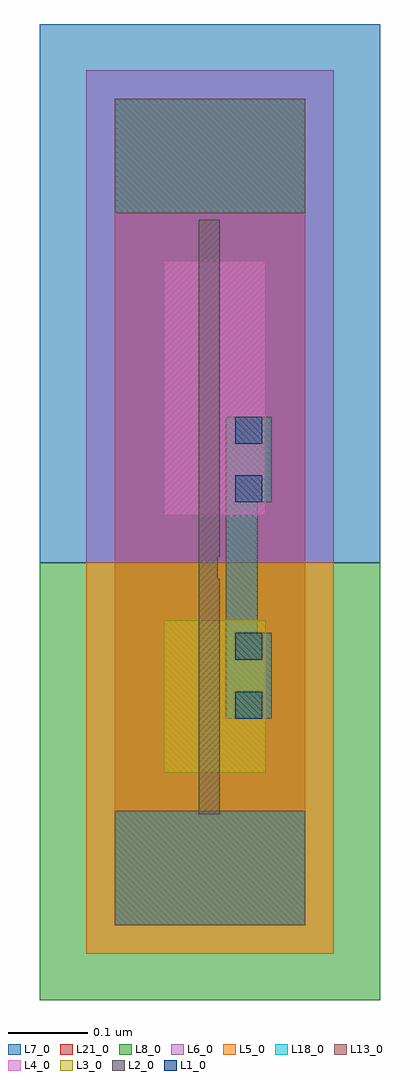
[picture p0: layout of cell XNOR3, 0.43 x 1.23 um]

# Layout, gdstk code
import gdstk
lib = gdstk.Library(unit=1e-6, precision=1e-09)
def R(c, l, rs):  # rectangles x0, y0, x1, y1
    for r in rs: c.add(gdstk.rectangle(r[:2], r[2:], *l))
L1_0 = (1, 0)
L2_0 = (2, 0)
L3_0 = (3, 0)
L4_0 = (4, 0)
L5_0 = (5, 0)
L6_0 = (6, 0)
L7_0 = (7, 0)
L8_0 = (8, 0)
L13_0 = (13, 0)
L18_0 = (18, 0)
L21_0 = (21, 0)

xnor3 = lib.new_cell('XNOR3')
R(xnor3, L1_0, [(0.152,0.26,0.186,0.294), (0.152,0.334,0.186,0.368), (0.152,0.532,0.186,0.566), (0.152,0.606,0.186,0.64)])
R(xnor3, L2_0, [(0.106,0.14,0.132,0.436), (0.106,0.412,0.13,0.488), (0.106,0.464,0.13,0.488), (0.106,0.464,0.13,0.488), (0.106,0.464,0.13,0.488), (0.106,0.464,0.13,0.488), (0.106,0.464,0.132,0.888)])
R(xnor3, L3_0, [(0.062,0.192,0.19,0.384), (0.148,0.192,0.19,0.384)])
R(xnor3, L4_0, [(0.062,0.516,0.19,0.836), (0.148,0.516,0.19,0.836)])
R(xnor3, L5_0, [(-0.036,-0.036,0.276,0.456)])
R(xnor3, L6_0, [(-0.036,0.456,0.276,1.076)])
R(xnor3, L7_0, [(-0.094,0.456,0.334,1.134)])
R(xnor3, L8_0, [(-0.094,-0.094,0.334,0.456)])
R(xnor3, L13_0, [(0,0,0.24,0.144), (0.14,0.26,0.198,0.368), (0.14,0.328,0.18,0.408), (0.14,0.368,0.18,0.432), (0.14,0.392,0.18,0.572), (0.14,0.532,0.18,0.572), (0.14,0.532,0.18,0.572), (0.14,0.532,0.198,0.64), (0,0.896,0.24,1.04)])
R(xnor3, L18_0, [(0,0,0.24,0.144), (0.14,0.26,0.198,0.368), (0.14,0.328,0.18,0.408), (0.14,0.368,0.18,0.432), (0.14,0.38,0.18,0.42), (0.14,0.392,0.18,0.572), (0.14,0.532,0.198,0.64), (0.14,0.532,0.18,0.572), (0.14,0.532,0.18,0.572), (0,0.896,0.24,1.04)])
R(xnor3, L21_0, [(0,0,0.24,1.04)])

lib.write_gds('XNOR3.gds')
